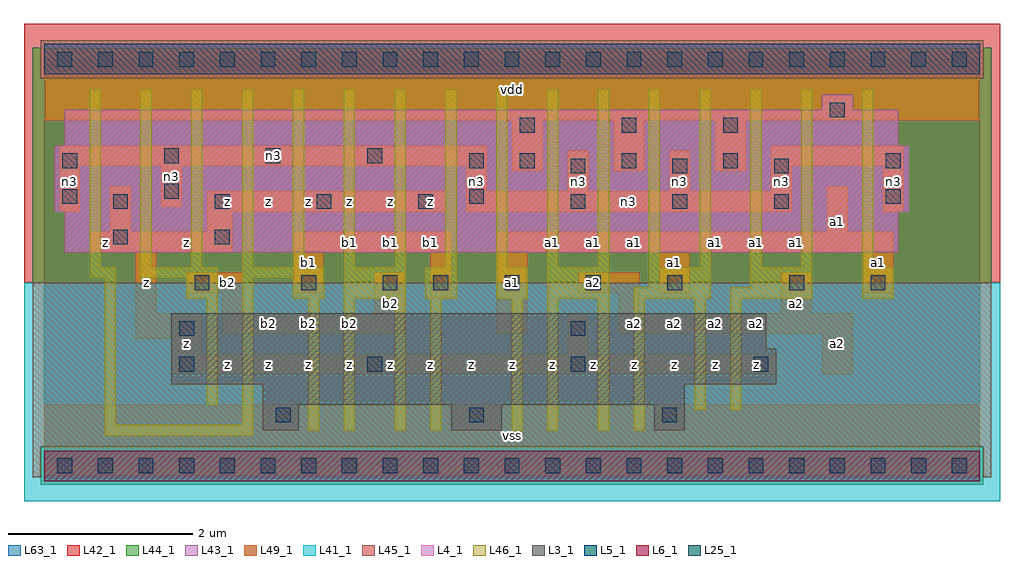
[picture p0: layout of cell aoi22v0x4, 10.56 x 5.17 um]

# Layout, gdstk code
import gdstk
lib = gdstk.Library(unit=1e-6, precision=1e-09)
def R(c, l, rs):  # rectangles x0, y0, x1, y1
    for r in rs: c.add(gdstk.rectangle(r[:2], r[2:], *l))
def A(c, l, x, y, w, h, nx, ny, dx, dy):  # array of equal rectangles
    R(c, l, [(x+i*dx, y+j*dy, x+i*dx+w, y+j*dy+h) for i in range(nx) for j in range(ny)])
L3_1 = (3, 1)
L4_1 = (4, 1)
L5_1 = (5, 1)
L6_1 = (6, 1)
L25_1 = (25, 1)
L41_1 = (41, 1)
L42_1 = (42, 1)
L43_1 = (43, 1)
L44_1 = (44, 1)
L45_1 = (45, 1)
L46_1 = (46, 1)
L49_1 = (49, 1)
L63_1 = (63, 1)

aoi22v0x4 = lib.new_cell('aoi22v0x4')
R(aoi22v0x4, L3_1, [(2.365,0.385,2.75,0.66), (4.4,0.385,4.95,0.66), (6.6,0.385,6.93,0.66), (2.365,0.66,6.93,0.88), (1.375,0.88,7.92,1.265), (1.375,1.265,7.81,1.65)])
R(aoi22v0x4, L4_1, [(0.22,2.31,9.24,2.75), (0.11,2.75,9.35,3.465), (0.22,3.465,9.24,3.85), (8.415,3.85,8.745,4.015)])
R(aoi22v0x4, L5_1, [(0,4.235,10.12,4.565)])
R(aoi22v0x4, L6_1, [(0,-0.165,10.12,0.165)])
A(aoi22v0x4, L25_1, 0.14, -0.08, 0.16, 0.16, 23, 2, 0.44, 4.4)
A(aoi22v0x4, L25_1, 2.505, 0.47, 0.16, 0.16, 3, 1, 2.09, 0)
A(aoi22v0x4, L25_1, 4.98, 1.9, 0.16, 0.16, 3, 1, 0.88, 0)
A(aoi22v0x4, L25_1, 0.745, 2.78, 0.16, 0.16, 4, 1, 1.1, 0)
A(aoi22v0x4, L25_1, 5.695, 2.78, 0.16, 0.16, 3, 2, 1.1, 0.385)
A(aoi22v0x4, L25_1, 5.145, 3.22, 0.16, 0.16, 3, 2, 1.1, 0.385)
A(aoi22v0x4, L25_1, 1.295, 3.275, 0.16, 0.16, 3, 1, 1.1, 0)
R(aoi22v0x4, L25_1, [(1.46,1.02,1.62,1.18), (3.495,1.02,3.655,1.18), (5.695,1.02,5.855,1.18), (7.675,1.02,7.835,1.18), (1.46,1.405,1.62,1.565), (5.695,1.405,5.855,1.565), (1.625,1.9,1.785,2.06), (2.78,1.9,2.94,2.06), (3.66,1.9,3.82,2.06), (4.21,1.9,4.37,2.06), (8.06,1.9,8.22,2.06), (8.94,1.9,9.1,2.06), (0.745,2.395,0.905,2.555), (1.845,2.395,2.005,2.555), (0.195,2.835,0.355,2.995), (4.595,2.835,4.755,2.995), (9.105,2.835,9.265,2.995), (1.295,2.89,1.455,3.05), (0.195,3.22,0.355,3.38), (4.595,3.22,4.755,3.38), (9.105,3.22,9.265,3.38), (8.5,3.77,8.66,3.93)])
R(aoi22v0x4, L41_1, [(-0.22,-0.385,10.34,1.98)])
R(aoi22v0x4, L42_1, [(-0.22,1.98,10.34,4.785)])
R(aoi22v0x4, L43_1, [(0,-0.165,10.12,0.165), (2.365,0.385,2.75,0.66), (4.4,0.385,4.95,0.66), (6.6,0.385,6.93,0.66), (2.365,0.66,6.93,0.88), (1.375,0.88,7.92,1.265), (1.375,1.265,7.81,1.65), (0.22,2.31,9.24,2.75), (0.11,2.75,9.35,3.465), (0.22,3.465,9.24,3.85), (8.415,3.85,8.745,4.015), (0,4.235,10.12,4.565)])
R(aoi22v0x4, L44_1, [(-0.04,-0.205,10.16,0.205), (-0.125,1.98,10.245,4.195), (-0.125,4.195,-0.04,4.525), (10.16,4.195,10.245,4.525)])
R(aoi22v0x4, L45_1, [(-0.125,-0.125,-0.04,0.205), (10.16,-0.125,10.245,0.205), (-0.125,0.205,10.245,1.98), (-0.04,4.195,10.16,4.605)])
A(aoi22v0x4, L46_1, 0.49, 2.15, 0.12, 1.925, 15, 1, 0.55, 0)
R(aoi22v0x4, L46_1, [(0.655,0.325,2.26,0.445), (2.855,0.38,2.975,1.81), (3.24,0.38,3.36,1.81), (3.79,0.38,3.91,1.81), (4.175,0.38,4.295,1.81), (5.055,0.38,5.175,1.81), (5.44,0.38,5.56,1.81), (5.99,0.38,6.11,1.81), (6.375,0.38,6.495,1.81), (0.655,0.445,0.775,2.03), (2.14,0.445,2.26,2.03), (7.035,0.6,7.155,1.81), (7.42,0.6,7.54,1.81), (1.755,0.655,1.875,1.81), (1.535,1.81,1.875,2.03), (2.69,1.81,3.03,2.03), (3.24,1.81,3.91,2.15), (4.12,1.81,4.46,2.15), (4.89,1.81,5.23,2.15), (5.44,1.81,6.11,2.15), (6.375,1.81,7.21,1.93), (7.42,1.81,8.31,1.93), (8.85,1.81,9.19,2.15), (6.54,1.93,7.21,2.15), (7.64,1.93,8.31,2.15), (0.49,2.03,0.775,2.15), (1.04,2.03,1.875,2.15), (2.14,2.03,3.03,2.15), (8.85,2.15,8.97,4.075)])
A(aoi22v0x4, L49_1, 5.06, 3.19, 0.33, 0.55, 3, 1, 1.1, 0)
R(aoi22v0x4, L49_1, [(0,-0.11,10.12,0.66), (1.375,0.99,7.92,1.21), (8.415,0.99,8.745,1.43), (1.375,1.21,1.705,1.375), (5.665,1.21,5.885,1.65), (0.99,1.375,1.705,1.65), (1.925,1.43,3.905,1.65), (4.895,1.43,5.225,2.31), (6.215,1.43,8.745,1.65), (0.99,1.65,1.21,2.31), (1.925,1.65,2.145,1.87), (3.575,1.65,3.905,2.09), (6.215,1.65,6.435,1.87), (7.975,1.65,8.305,2.09), (4.18,1.815,4.4,2.31), (1.54,1.87,2.145,2.09), (2.695,1.87,3.025,2.31), (5.775,1.87,6.435,2.09), (6.655,1.87,6.985,2.31), (8.855,1.87,9.185,2.31), (0.495,2.31,2.035,2.53), (2.695,2.31,4.4,2.53), (4.895,2.31,9.185,2.53), (0.715,2.53,0.935,3.025), (1.76,2.53,2.035,2.75), (8.47,2.53,8.69,3.025), (0.165,2.75,0.385,3.245), (1.76,2.75,4.345,2.97), (4.565,2.75,8.085,2.97), (9.075,2.75,9.295,3.245), (1.265,2.805,1.485,3.245), (4.565,2.97,4.785,3.245), (5.665,2.97,5.885,3.41), (6.765,2.97,6.985,3.41), (7.865,2.97,8.085,3.245), (0.165,3.245,4.785,3.465), (7.865,3.245,9.295,3.465), (0,3.74,10.12,4.51)])
R(aoi22v0x4, L63_1, [(0,0,10.12,4.4)])
aoi22v0x4.add(gdstk.Label('z', (1.1,1.98), layer=49, texttype=1))
aoi22v0x4.add(gdstk.Label('z', (0.66,2.42), layer=49, texttype=1))
aoi22v0x4.add(gdstk.Label('n3', (1.375,3.135), layer=49, texttype=1))
aoi22v0x4.add(gdstk.Label('n3', (0.275,3.08), layer=49, texttype=1))
aoi22v0x4.add(gdstk.Label('z', (1.98,1.1), layer=49, texttype=1))
aoi22v0x4.add(gdstk.Label('z', (2.42,1.1), layer=49, texttype=1))
aoi22v0x4.add(gdstk.Label('z', (2.86,1.1), layer=49, texttype=1))
aoi22v0x4.add(gdstk.Label('b2', (2.42,1.54), layer=49, texttype=1))
aoi22v0x4.add(gdstk.Label('b2', (2.86,1.54), layer=49, texttype=1))
aoi22v0x4.add(gdstk.Label('z', (1.54,1.32), layer=49, texttype=1))
aoi22v0x4.add(gdstk.Label('b2', (1.98,1.98), layer=49, texttype=1))
aoi22v0x4.add(gdstk.Label('b1', (2.86,2.2), layer=49, texttype=1))
aoi22v0x4.add(gdstk.Label('z', (1.54,2.42), layer=49, texttype=1))
aoi22v0x4.add(gdstk.Label('z', (1.98,2.86), layer=49, texttype=1))
aoi22v0x4.add(gdstk.Label('z', (2.42,2.86), layer=49, texttype=1))
aoi22v0x4.add(gdstk.Label('z', (2.86,2.86), layer=49, texttype=1))
aoi22v0x4.add(gdstk.Label('z', (3.3,1.1), layer=49, texttype=1))
aoi22v0x4.add(gdstk.Label('z', (3.74,1.1), layer=49, texttype=1))
aoi22v0x4.add(gdstk.Label('z', (4.18,1.1), layer=49, texttype=1))
aoi22v0x4.add(gdstk.Label('z', (4.62,1.1), layer=49, texttype=1))
aoi22v0x4.add(gdstk.Label('b2', (3.3,1.54), layer=49, texttype=1))
aoi22v0x4.add(gdstk.Label('b2', (3.74,1.76), layer=49, texttype=1))
aoi22v0x4.add(gdstk.Label('b1', (3.74,2.42), layer=49, texttype=1))
aoi22v0x4.add(gdstk.Label('b1', (4.18,2.42), layer=49, texttype=1))
aoi22v0x4.add(gdstk.Label('b1', (3.3,2.42), layer=49, texttype=1))
aoi22v0x4.add(gdstk.Label('z', (3.3,2.86), layer=49, texttype=1))
aoi22v0x4.add(gdstk.Label('z', (3.74,2.86), layer=49, texttype=1))
aoi22v0x4.add(gdstk.Label('z', (4.18,2.86), layer=49, texttype=1))
aoi22v0x4.add(gdstk.Label('n3', (4.675,3.08), layer=49, texttype=1))
aoi22v0x4.add(gdstk.Label('n3', (2.475,3.355), layer=49, texttype=1))
aoi22v0x4.add(gdstk.Label('vss', (5.06,0.33), layer=49, texttype=1))
aoi22v0x4.add(gdstk.Label('z', (5.06,1.1), layer=49, texttype=1))
aoi22v0x4.add(gdstk.Label('z', (5.5,1.1), layer=49, texttype=1))
aoi22v0x4.add(gdstk.Label('z', (5.94,1.1), layer=49, texttype=1))
aoi22v0x4.add(gdstk.Label('z', (6.38,1.1), layer=49, texttype=1))
aoi22v0x4.add(gdstk.Label('a2', (6.38,1.54), layer=49, texttype=1))
aoi22v0x4.add(gdstk.Label('a1', (5.06,1.98), layer=49, texttype=1))
aoi22v0x4.add(gdstk.Label('a2', (5.94,1.98), layer=49, texttype=1))
aoi22v0x4.add(gdstk.Label('a1', (5.5,2.42), layer=49, texttype=1))
aoi22v0x4.add(gdstk.Label('a1', (5.94,2.42), layer=49, texttype=1))
aoi22v0x4.add(gdstk.Label('a1', (6.38,2.42), layer=49, texttype=1))
aoi22v0x4.add(gdstk.Label('n3', (5.775,3.08), layer=49, texttype=1))
aoi22v0x4.add(gdstk.Label('vdd', (5.06,4.07), layer=49, texttype=1))
aoi22v0x4.add(gdstk.Label('z', (6.82,1.1), layer=49, texttype=1))
aoi22v0x4.add(gdstk.Label('z', (7.26,1.1), layer=49, texttype=1))
aoi22v0x4.add(gdstk.Label('z', (7.7,1.1), layer=49, texttype=1))
aoi22v0x4.add(gdstk.Label('a2', (7.26,1.54), layer=49, texttype=1))
aoi22v0x4.add(gdstk.Label('a2', (7.7,1.54), layer=49, texttype=1))
aoi22v0x4.add(gdstk.Label('a2', (6.82,1.54), layer=49, texttype=1))
aoi22v0x4.add(gdstk.Label('a2', (8.14,1.76), layer=49, texttype=1))
aoi22v0x4.add(gdstk.Label('a1', (7.26,2.42), layer=49, texttype=1))
aoi22v0x4.add(gdstk.Label('a1', (7.7,2.42), layer=49, texttype=1))
aoi22v0x4.add(gdstk.Label('a1', (8.14,2.42), layer=49, texttype=1))
aoi22v0x4.add(gdstk.Label('a1', (6.82,2.2), layer=49, texttype=1))
aoi22v0x4.add(gdstk.Label('n3', (6.325,2.86), layer=49, texttype=1))
aoi22v0x4.add(gdstk.Label('n3', (7.975,3.08), layer=49, texttype=1))
aoi22v0x4.add(gdstk.Label('n3', (6.875,3.08), layer=49, texttype=1))
aoi22v0x4.add(gdstk.Label('a2', (8.58,1.32), layer=49, texttype=1))
aoi22v0x4.add(gdstk.Label('a1', (9.02,2.2), layer=49, texttype=1))
aoi22v0x4.add(gdstk.Label('a1', (8.58,2.64), layer=49, texttype=1))
aoi22v0x4.add(gdstk.Label('n3', (9.185,3.08), layer=49, texttype=1))

lib.write_gds('aoi22v0x4.gds')
